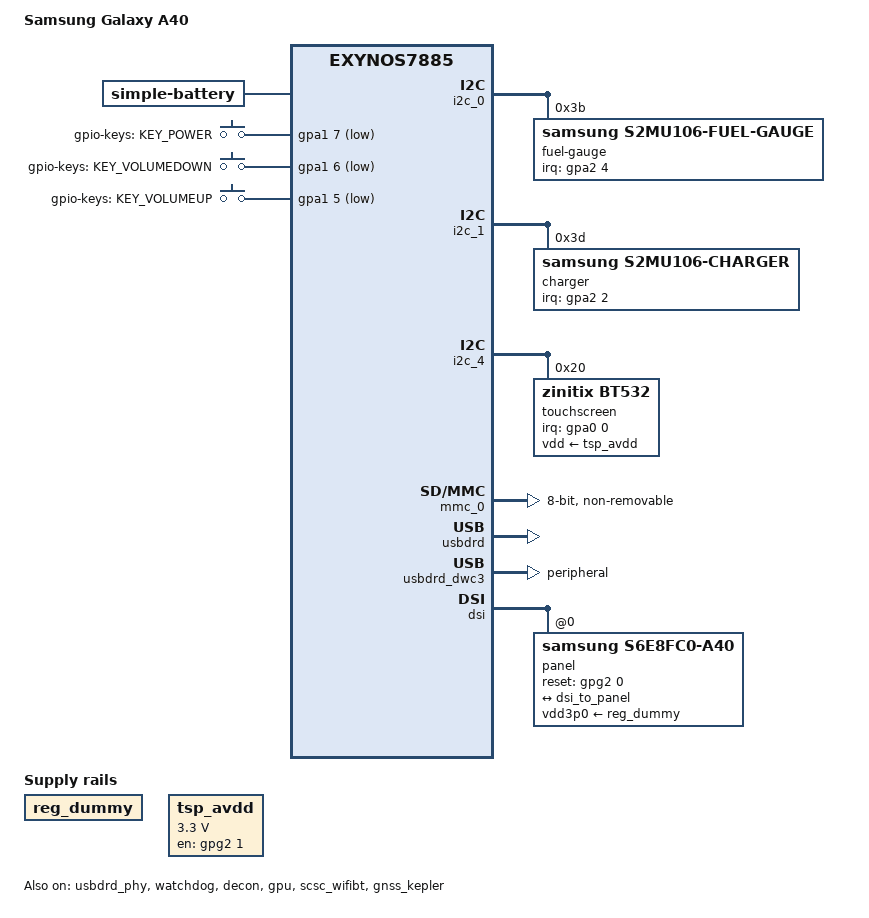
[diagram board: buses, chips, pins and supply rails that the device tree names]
// SPDX-License-Identifier: GPL-2.0
/dts-v1/;
#include "exynos7885.dtsi"
#include <dt-bindings/gpio/gpio.h>
#include <dt-bindings/input/input.h>
#include <dt-bindings/interrupt-controller/irq.h>

/ {
	model = "Samsung Galaxy A40";
	compatible = "samsung,a40", "samsung,exynos7885";
	chassis-type = "handset";

	chosen {
		#address-cells = <2>;
		#size-cells = <1>;
		ranges;

		stdout-path = "fb0";

		bootargs = "pmos.nosplash clk_ignore_unused pd_ignore_unused";

		linux,initrd-start = <0x89000000>;
		linux,initrd-end = <0x898FFFFF>;


		fb0: framebuffer@ec000000 {
			compatible = "simple-framebuffer";
			reg = <0x0 0xec000000 (1080 * 2340 * 4)>;
			width = <1080>;
			height = <2340>;
			stride = <(1080 * 4)>;
			format = "a8r8g8b8";
		};
	};

	reserved-memory {
		#address-cells = <2>;
		#size-cells = <1>;
		ranges;

		/*
		 * Firmware-owned regions taken verbatim from the downstream
		 * (4.4) device tree's /reserved-memory. Leaving any of these
		 * out lets Linux hand the RAM to the page allocator while the
		 * secure firmware / modem (CP) keep writing to it, which
		 * intermittently corrupts whatever the kernel placed there
		 * (e.g. the unpacked initramfs -> random "Exec format error").
		 */
		sec_debug_magic_rmem: sec-debug-magic@80000000 {
			reg = <0x0 0x80000000 0x1000>;
		};

		dram_test_rmem: dram-test@80002000 {
			reg = <0x0 0x80002000 0x2000>;
		};

		/*
		 * S-Boot's RAM log: "LOGM" magic at 0x91200204, ring buffer
		 * 0x91300000-0x91500000. U-Boot does not load anything there,
		 * so keeping Linux off it preserves this boot's bootloader log
		 * for reading through /dev/mem.
		 */
		sboot_log_rmem: sboot-log@91200000 {
			reg = <0x0 0x91200000 0x300000>;
			no-map;
		};

		/*
		 * Exynos Snapshot (ESS / debug-snapshot). Downstream passes
		 * ess_setup=0x86000000 on the cmdline; the ess driver then
		 * memblock_reserve()s a block sized by its item table (up to
		 * log_kevents 8M + log_kernel 2M + log_platform 4M + log_sfr 4M
		 * + log_etm 8M + 2M header ~= 28M). It is NOT in the downstream
		 * /reserved-memory, so copying that node alone missed it. The
		 * ETR/coresight + secure firmware keep writing here regardless
		 * of the running OS, so leave a generous 32M hole. Ends at
		 * 0x88000000, below the wrapper's initrd (0x89000000).
		 */
		ess_rmem: exynos-snapshot@86000000 {
			reg = <0x0 0x86000000 0x2000000>;
			no-map;
		};

		tima_rmem: tima@b8000000 {
			reg = <0x0 0xb8000000 0x200000>;
		};

		/*
		 * Secure-world / TEE carve-out at the very top of the low
		 * DRAM bank (0x80000000 + 0x3da00000 = 0xbda00000). S-Boot /
		 * EL3 owns 0xbbc00000-0xbda00000 (top 30 MiB) and writes to
		 * it independently of the running OS. The downstream
		 * bootloader reserves it at runtime, so it is NOT present in
		 * the downstream DT /reserved-memory we copied. Found
		 * empirically with memtest=17 - it is the only RAM range that
		 * fails the pattern test. Leaving it usable let Linux place
		 * page-cache (the unpacked initramfs) there, which the secure
		 * world then zeroed -> intermittent "Exec format error" /
		 * page-granular all-zero files during early boot.
		 */
		secure_dram_rmem: secure-dram@bbc00000 {
			reg = <0x0 0xbbc00000 0x1e00000>;
			no-map;
		};

		seclog_rmem: seclog@c0000000 {
			reg = <0x0 0xc0000000 0x80000>;
		};

		/*
		 * Legacy /memreserve/ 0xE0000000 0xD00000 from the downstream
		 * exynos7885-rmem.dtsi (secure firmware / iommu owned).
		 */
		secfw_rmem: secfw@e0000000 {
			reg = <0x0 0xe0000000 0xd00000>;
			no-map;
		};

		/*
		 * Shared with the WLBT R4/M4, which master into it directly
		 * and are not coherent with AP caches: no-map keeps it out
		 * of the kernel linear mapping so the driver can map it
		 * write-combining and have the firmware image actually land
		 * in DRAM.
		 */
		wifibt_rmem: wifibt@e9000000 {
			reg = <0x0 0xe9000000 0x400000>;
			no-map;
		};

		abox_rmem: abox@e9400000 {
			reg = <0x0 0xe9400000 0x400000>;
		};

		framebuffer_region@ec000000 {
			reg = <0x0 0xec000000 0x1400000>;
			no-map;
		};

		/* modem_if: downstream size is 0x8800000 (ends 0xfdc00000) */
		modem_rmem: modem@f5400000 {
			reg = <0x0 0xf5400000 0x8800000>;
		};

		cp_ram_logging_rmem: cp-ram-logging@fdc00000 {
			reg = <0x0 0xfdc00000 0x2000000>;
		};

		/*
		 * Shared with the Kepler GNSS core. Deliberately *not*
		 * no-map: marking it no-map made the early memblock
		 * reservation itself fail at boot ("OF: reserved mem:
		 * Reserved memory: failed to reserve memory for node
		 * 'gnss@ffc00000'"), reproducibly, and adding no-map to
		 * the preceding regions to rule out an adjacency effect
		 * didn't fix it either -- a real memblock-level quirk, not
		 * yet root-caused (see gnss.md). Left as a plain reserve()
		 * like modem_rmem/cp_ram_logging_rmem above, which has
		 * always worked reliably here; the driver uses memremap()
		 * rather than ioremap_wc() to match (ioremap's PFN-is-RAM
		 * refusal applies regardless of no-map once excluded from
		 * the linear map, but with the region left mapped normally
		 * memremap()'s RAM-aware path is the correct tool anyway).
		 */
		gnss_rmem: gnss@ffc00000 {
			reg = <0x0 0xffc00000 0x400000>;
		};

		/*
		 * Debug only: ramoops/pstore region in the gap after the ESS
		 * carve-out (ends at 0x88000000) and before the wrapper's
		 * initrd (0x89000000).
		 */
		ramoops@88400000 {
			compatible = "ramoops";
			reg = <0x0 0x88400000 0x200000>;
			console-size = <0x100000>;
			record-size = <0x40000>;
			pmsg-size = <0x40000>;
			ecc-size = <16>;
		};
	};

	memory@80000000 {
		device_type = "memory";
		reg = <0x0 0x80000000 0x3da00000>,
		      <0x0 0xc0000000 0x40000000>,
		      <0x8 0x80000000 0x80000000>;
	};

	reg_dummy: regulator-0 {
		compatible = "regulator-fixed";
		regulator-name = "dummy_reg";
	};

	/*
	 * Cell parameters from the downstream battery_data_a40_common.dtsi:
	 * 3100 mAh pack, 4.35 V float (battery,chg_float_voltage). Consumed by
	 * the S2MU106 fuel gauge and charger via monitored-battery.
	 *
	 * constant-charge-current-max-microamp and charge-term-current-microamp
	 * aren't in the downstream DT (they come from a cable-type current
	 * table the charger driver doesn't implement yet); these are
	 * conservative MVP defaults, not vendor-supplied values.
	 */
	battery: battery {
		compatible = "simple-battery";
		charge-full-design-microamp-hours = <3100000>;
		voltage-max-design-microvolt = <4350000>;
		voltage-min-design-microvolt = <3400000>;
		constant-charge-voltage-max-microvolt = <4350000>;
		constant-charge-current-max-microamp = <1000000>;
		charge-term-current-microamp = <150000>;
	};

	tsp_avdd: tsp-avdd {
		compatible = "regulator-fixed";
		regulator-name = "tsp_avdd";
		regulator-min-microvolt = <0x325aa0>;
		regulator-max-microvolt = <0x325aa0>;
		gpio = <&gpg2 1 GPIO_ACTIVE_HIGH>;
		enable-active-high;
		regulator-boot-on;
	};

	gpio-keys {
		compatible = "gpio-keys";

		pinctrl-names = "default";
		pinctrl-0 = <&key_power &key_voldown &key_volup>;

		key-power {
			label = "gpio-keys: KEY_POWER";
			gpios = <&gpa1 7 GPIO_ACTIVE_LOW>;
			linux,code = <KEY_POWER>;
		};

		key-voldown {
			label = "gpio-keys: KEY_VOLUMEDOWN";
			gpios = <&gpa1 6 GPIO_ACTIVE_LOW>;
			linux,code = <KEY_VOLUMEDOWN>;
		};

		key-volup {
			label = "gpio-keys: KEY_VOLUMEUP";
			gpios = <&gpa1 5 GPIO_ACTIVE_LOW>;
			linux,code = <KEY_VOLUMEUP>;
		};
	};


	/*tsp_ldo_en: tsp_ldo_en {
		compatible = "regulator-fixed";
		regulator-name = "tsp_ldo_en";
		regulator-min-microvolt = <3300000>;
		regulator-max-microvolt = <3300000>;
		gpio = <&gpg2 1 GPIO_ACTIVE_HIGH>;
		enable-active-high;
//		regulator-boot-on;
	};*/
};

/*
 * S2MU106 PMIC fuel gauge. Downstream puts it on i2c_0 (the s3c2440 I2C
 * controller at 0x13830000); its alert line is on gpa2-4. The MUIC and
 * USB-PD blocks of the same PMIC are not wired up here; the charger block
 * is (see &i2c_1 below).
 */
&i2c_0 {
	#address-cells = <1>;
	#size-cells = <0>;
	samsung,i2c-sda-delay = <100>;
	samsung,i2c-max-bus-freq = <400000>;

	status = "okay";

	fuel-gauge@3b {
		compatible = "samsung,s2mu106-fuel-gauge";
		reg = <0x3b>;

		interrupt-parent = <&gpa2>;
		interrupts = <4 IRQ_TYPE_EDGE_FALLING>;

		pinctrl-names = "default";
		pinctrl-0 = <&fuel_irq>;

		monitored-battery = <&battery>;
	};
};

/*
 * S2MU106 PMIC charger block, at its own i2c address on a separate bus
 * from the fuel gauge (matches downstream). Its IRQ line is shared with
 * the MUIC/AFC/PM/haptic-boost blocks of the same PMIC; those aren't
 * wired up here, so the charger driver masks them off at the top-level
 * demux and only listens for its own events.
 */
&i2c_1 {
	#address-cells = <1>;
	#size-cells = <0>;
	samsung,i2c-max-bus-freq = <400000>;

	status = "okay";

	charger@3d {
		compatible = "samsung,s2mu106-charger";
		reg = <0x3d>;

		interrupt-parent = <&gpa2>;
		interrupts = <2 IRQ_TYPE_LEVEL_LOW>;

		pinctrl-names = "default";
		pinctrl-0 = <&if_pmic_irq>;

		monitored-battery = <&battery>;
	};
};

&i2c_4 {
	#address-cells = <1>;
	#size-cells = <0>;
	samsung,i2c-sda-delay = <0x64>;
	samsung,i2c-max-bus-freq = <0x61a80>;

	status = "okay";

	touchscreen@20 {
		compatible = "zinitix,bt532";
		reg = <0x20>;

		interrupt-parent = <&gpa0>;
		interrupts = <0 IRQ_TYPE_LEVEL_HIGH>;

		pinctrl-names = "default";
		pinctrl-0 = <&touch_irq>;
		pinctrl-1 = <&touch_input>;

		touchscreen-size-x = <1080>;
		touchscreen-size-y = <2340>;
		vdd-supply = <&tsp_avdd>;

	};
};

/*&i2c6 {
	#address-cells = <1>;
	#size-cells = <0>;

	samsung,i2c-sda-delay = <100>;
	samsung,i2c-max-bus-freq = <400000>;

	status = "okay";

	touchscreen@20 {
		compatible = "zinitix,bt532";
		reg = <0x20>;
		interrupt-parent = <&gpa0>;
		interrupts = <6 IRQ_TYPE_LEVEL_LOW>;

		pinctrl-names = "default";
		pinctrl-0 = <&touch_irq>;

		touchscreen-size-x = <1080>;
		touchscreen-size-y = <2340>;

		vdd-supply = <&vdd_ldo34>;
	};
};*/

&pinctrl_alive {
	touch_irq: touch-irq-pins {
		samsung,pins = "gpa0-0";
		samsung,pin-function = <EXYNOS_PIN_FUNC_EINT>;
		samsung,pin-pud = <EXYNOS_PIN_PULL_NONE>;
		samsung,pin-drv = <EXYNOS5433_PIN_DRV_FAST_SR1>;
	};

	touch_input: touch-input {
		samsung,pins = "gpa0-0";
		samsung,pin-function = <EXYNOS_PIN_FUNC_INPUT>;
		samsung,pin-pud-pdn = <EXYNOS_PIN_PULL_NONE>;
	};

	key_power: key-power-pins {
		samsung,pin-drv = <EXYNOS5433_PIN_DRV_FAST_SR1>;
		samsung,pin-pud = <EXYNOS_PIN_PULL_NONE>;
		samsung,pin-function = <EXYNOS_PIN_FUNC_EINT>;
		samsung,pins = "gpa1-7";
	};

	key_voldown: key-voldown-pins {
		samsung,pin-drv = <EXYNOS5433_PIN_DRV_FAST_SR1>;
		samsung,pin-pud = <EXYNOS_PIN_PULL_NONE>;
		samsung,pin-function = <EXYNOS_PIN_FUNC_EINT>;
		samsung,pins = "gpa1-6";
	};

	key_volup: key-volup-pins {
		samsung,pin-drv = <EXYNOS5433_PIN_DRV_FAST_SR1>;
		samsung,pin-pud = <EXYNOS_PIN_PULL_NONE>;
		samsung,pin-function = <EXYNOS_PIN_FUNC_EINT>;
		samsung,pins = "gpa1-5";
	};

	pmic_irq: pmic-irq-pins {
		samsung,pins = "gpa2-0";
		samsung,pin-pud = <EXYNOS_PIN_PULL_UP>;
		samsung,pin-drv = <EXYNOS5433_PIN_DRV_FAST_SR1>;
	};

	/* S2MU106 fuel gauge alert (downstream pulls this up). */
	fuel_irq: fuel-irq-pins {
		samsung,pins = "gpa2-4";
		samsung,pin-function = <EXYNOS_PIN_FUNC_EINT>;
		samsung,pin-pud = <EXYNOS_PIN_PULL_UP>;
		samsung,pin-drv = <EXYNOS5433_PIN_DRV_FAST_SR1>;
	};

	/* S2MU106 charger/MUIC/AFC/PM top-level IRQ demux line. */
	if_pmic_irq: if-pmic-irq-pins {
		samsung,pins = "gpa2-2";
		samsung,pin-function = <EXYNOS_PIN_FUNC_EINT>;
		samsung,pin-pud = <EXYNOS_PIN_PULL_UP>;
		samsung,pin-drv = <EXYNOS5433_PIN_DRV_FAST_SR1>;
	};

};

&oscclk {
	clock-frequency = <0x18cba80>;
};

&mmc_0 {
	status = "okay";
	mmc-hs200-1_8v;
	mmc-hs400-1_8v;
	cap-mmc-highspeed;
	non-removable;
	mmc-hs400-enhanced-strobe;
	card-detect-delay = <200>;
	clock-frequency = <800000000>;
	bus-width = <8>;
	samsung,dw-mshc-ciu-div = <3>;
	samsung,dw-mshc-sdr-timing = <0 4>;
	samsung,dw-mshc-ddr-timing = <2 4>;
	samsung,dw-mshc-hs400-timing = <0 2>;

	pinctrl-names = "default";
	pinctrl-0 = <&sd0_clk_fast_slew_rate_3x &sd0_cmd &sd0_rdqs
		     &sd0_bus1 &sd0_bus4 &sd0_bus8>;
};

&usbdrd {
	status = "okay";
	vdd10-supply = <&reg_dummy>;
	vdd33-supply = <&reg_dummy>;
};

&usbdrd_dwc3 {
	dr_mode = "peripheral";
	snps,quirk-frame-length-adjustment = <0x20>;
};

&usbdrd_phy {
	status = "okay";
};

&watchdog {
	status = "okay";
};

&soc {
	/*
	 * SCSC "Maxwell" WLBT (WiFi/BT combo) companion chip.
	 * Two register windows (R4 and M4 mailbox/control SFRs); only
	 * the R4 side raises an interrupt to the AP today. Power/reset
	 * sequencing goes through PMU_ALIVE via the syscon phandle below
	 * (WIFI_CTRL_NS/S at PMU offsets 0x140/0x144), same block used
	 * to gate the ACPM CM4.
	 */
	scsc_wifibt: wifibt@120c0000 {
		compatible = "samsung,exynos7885-scsc-wifibt";
		reg = <0x120c0000 0x180>, /* R4 */
		      <0x120e0000 0x180>; /* M4 */
		interrupts = <GIC_SPI 57 IRQ_TYPE_LEVEL_HIGH>,
			     <GIC_SPI 21 IRQ_TYPE_LEVEL_HIGH>,
			     <GIC_SPI 286 IRQ_TYPE_LEVEL_HIGH>;
		interrupt-names = "mbox", "alive", "wdog";
		samsung,syscon-phandle = <&pmu_system_controller>;
		memory-region = <&wifibt_rmem>;
		/*
		 * Vendor platform_mif_reset() sends an ACPM DVFS "SET_FLAG"
		 * request (id=7) on this same channel cpufreq uses, right
		 * before releasing PMU reset -- believed to guard a shared
		 * rail (BUCK2/vdd_cpucl0) from an inrush-current dip.
		 */
		samsung,acpm-ipc = <&acpm_ipc>;
		samsung,acpm-dvfs-channel = <0>;
		status = "okay";
	};

	/*
	 * Samsung "Kepler" GNSS companion chip. MCU_IPC mailbox window
	 * (milestone 2: one BCMD send, see drivers/misc/samsung/gnss_kepler/
	 * and gnss.md). Power/reset sequencing goes through PMU_ALIVE via
	 * the same syscon phandle WLBT uses above (GNSS_CTRL_NS/S at PMU
	 * offsets 0x40/0x44). "active"/"watchdog"/"mbox" match the
	 * downstream gnss_pdata/mailbox_gnss nodes' interrupt-names;
	 * "wakeup" isn't wired up yet.
	 */
	gnss_kepler: gnss@120d0000 {
		compatible = "samsung,exynos7885-gnss-kepler";
		reg = <0x120d0000 0x180>;
		interrupts = <GIC_SPI 20 IRQ_TYPE_LEVEL_HIGH>,
			     <GIC_SPI 165 IRQ_TYPE_LEVEL_HIGH>,
			     <GIC_SPI 56 IRQ_TYPE_LEVEL_HIGH>;
		interrupt-names = "active", "watchdog", "mbox";
		samsung,syscon-phandle = <&pmu_system_controller>;
		memory-region = <&gnss_rmem>;
		status = "okay";
	};

	/*
	 * CP (modem) PMU-only bring-up probe, see gnss.md and
	 * drivers/misc/samsung/cp_pmu_probe/. No IP block of its own --
	 * it only touches the shared PMU_ALIVE syscon above, so no `reg`.
	 */
	cp_pmu_probe: cp-pmu-probe {
		compatible = "samsung,exynos7885-cp-pmu-probe";
		samsung,syscon-phandle = <&pmu_system_controller>;
		status = "okay";
	};
};

&pinctrl_top {
	pm_wrsti: pm-wrsti-pins {
		samsung,pins = "gpg1-1";
		samsung,pin-con-pdn = <EXYNOS_PIN_PDN_PREV>;
	};
};

&decon {
	status = "okay";
};

&dsi {
	#address-cells = <1>;
	#size-cells = <0>;

	status = "okay";

	panel@0 {
		compatible = "samsung,s6e8fc0-a40";
		reg = <0>;

		vdd3p0-supply = <&reg_dummy>;
		reset-gpios = <&gpg2 0 GPIO_ACTIVE_HIGH>;

		port {
			panel_in: endpoint {
				remote-endpoint = <&dsi_to_panel>;
			};
		};
	};
};

&{/soc@0/dsi@14870000/ports} {
	port@1 {
		reg = <1>;

		dsi_to_panel: endpoint {
			remote-endpoint = <&panel_in>;
			data-lanes = <1 2 3 4>;
		};
	};
};

/*
 * S2MPU08 PMIC, reached over ACPM (not I2C/SPEEDY as downstream). Rail
 * map (names, voltages, always-on) taken from the running downstream
 * device tree (/proc/device-tree/.../s2mpu08mfd@00/regulators). Existing
 * consumers still use reg_dummy as a fallback until this is confirmed
 * probing.
 */
&acpm_ipc {
	mfd@1 {
		compatible = "samsung,s2mpu08";
		reg = <0x1>;

		interrupt-parent = <&gpa2>;
		interrupts = <2 IRQ_TYPE_LEVEL_LOW>;

		pinctrl-names = "default";
		pinctrl-0 = <&pmic_irq &pm_wrsti>;

		s2mpu08,wakeup = "enabled";

		regulators {
			/*
			 * Per-rail constraints derived from a live PMIC dump.
			 * No rail carries a voltage range, so the core never
			 * calls set_voltage(): BUCK1-6 are ACPM/DVFS-owned (the
			 * live voltage is not in the register the descriptor
			 * reads) and the rest are left at their boot voltage.
			 * regulator-always-on is set on the rails the dump showed
			 * enabled. The s2mpu08 driver makes BUCK enable a no-op
			 * (ACPM owns the bucks on mainline), so always-on on a
			 * buck does not flip its control mode and brown it out;
			 * the LDOs are already in the on-mode that enable writes,
			 * so enabling them is a no-op too.
			 */
			buck1_reg: BUCK1 {
				regulator-name = "vdd_mif";
				regulator-always-on;
			};

			buck2_reg: BUCK2 {
				regulator-name = "vdd_cpucl0";
				regulator-always-on;
			};

			buck3_reg: BUCK3 {
				regulator-name = "vdd_cpucl1_2";
				regulator-always-on;
			};

			buck4_reg: BUCK4 {
				regulator-name = "vdd_int";
				regulator-always-on;
			};

			buck5_reg: BUCK5 {
				regulator-name = "vdd_g3d";
			};

			buck6_reg: BUCK6 {
				regulator-name = "vdd2_mem";
				regulator-always-on;
			};

			buck7_reg: BUCK7 {
				regulator-name = "vdd_lldo";
			};

			buck8_reg: BUCK8 {
				regulator-name = "vdd_mldo";
				regulator-always-on;
			};

			ldo1_reg: LDO1 {
				regulator-name = "vdd_ldo1";
			};

			ldo2_reg: LDO2 {
				regulator-name = "vqmmc";
			};

			ldo3_reg: LDO3 {
				regulator-name = "vdd_ldo3";
				regulator-always-on;
			};

			ldo4_reg: LDO4 {
				regulator-name = "vdd_ldo4";
				regulator-always-on;
			};

			ldo5_reg: LDO5 {
				regulator-name = "vdd_ldo5";
				regulator-always-on;
			};

			ldo6_reg: LDO6 {
				regulator-name = "vdd_ldo6";
				regulator-always-on;
			};

			ldo7_reg: LDO7 {
				regulator-name = "vdd_ldo7";
				regulator-always-on;
			};

			ldo8_reg: LDO8 {
				regulator-name = "vdd_ldo8";
				regulator-always-on;
			};

			ldo9_reg: LDO9 {
				regulator-name = "vdd_ldo9";
				regulator-always-on;
			};

			ldo10_reg: LDO10 {
				regulator-name = "vdd_ldo10";
				regulator-always-on;
			};

			ldo11_reg: LDO11 {
				regulator-name = "vdd_ldo11";
				regulator-always-on;
			};

			ldo12_reg: LDO12 {
				regulator-name = "vdd_ldo12";
				regulator-always-on;
			};

			ldo13_reg: LDO13 {
				regulator-name = "vdd_ldo13";
				regulator-always-on;
			};

			ldo14_reg: LDO14 {
				regulator-name = "vdd_ldo14";
				regulator-always-on;
			};

			ldo33_reg: LDO33 {
				regulator-name = "vdd_ldo33";
			};

			ldo34_reg: LDO34 {
				regulator-name = "vdd_ldo34";
			};

			ldo35_reg: LDO35 {
				regulator-name = "vmmc";
			};

			ldo36_reg: LDO36 {
				regulator-name = "vdd_ldo36";
			};

			ldo37_reg: LDO37 {
				regulator-name = "vdd_ldo37";
			};
		};
	};
};

&gpu {
	/*
	 * No mali-supply: vdd_g3d (buck5) is ACPM-owned and not host-settable,
	 * so the GPU rail is left to firmware and devfreq does frequency-only
	 * DVFS (see the gpu_opp_table in the SoC dtsi).
	 */
	status = "okay";
};
